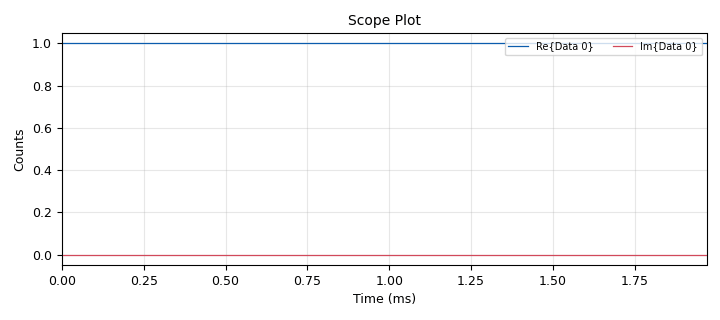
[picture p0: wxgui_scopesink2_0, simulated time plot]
<?xml version='1.0' encoding='utf-8'?>
<flow_graph>
<block>
<key>options</key>
<param><key>id</key><value>top_block</value></param>
<param><key>generate_options</key><value>wx_gui</value></param>
<param><key>category</key><value>Custom</value></param>
</block>
<block>
<key>variable</key>
<param><key>id</key><value>samp_rate</value></param>
<param><key>value</key><value>32000</value></param>
</block>
<block>
<key>analog_sig_source_x</key>
<param><key>id</key><value>analog_sig_source_x_0</value></param>
<param><key>type</key><value>complex</value></param>
<param><key>samp_rate</key><value>samp_rate</value></param>
<param><key>waveform</key><value>analog.GR_SIN_WAVE</value></param>
<param><key>freq</key><value>1000</value></param>
<param><key>amp</key><value>1</value></param>
<param><key>offset</key><value>0</value></param>
</block>
<block>
<key>analog_sig_source_x</key>
<param><key>id</key><value>analog_sig_source_x_0_0</value></param>
<param><key>type</key><value>complex</value></param>
<param><key>samp_rate</key><value>samp_rate</value></param>
<param><key>waveform</key><value>analog.GR_SIN_WAVE</value></param>
<param><key>freq</key><value>1000</value></param>
<param><key>amp</key><value>1</value></param>
<param><key>offset</key><value>0</value></param>
</block>
<block>
<key>juha_cspecsink</key>
<param><key>id</key><value>juha_cspecsink_0</value></param>
<param><key>fftlen</key><value>1024</value></param>
<param><key>n_avg</key><value>100</value></param>
</block>
<block>
<key>blocks_throttle</key>
<param><key>id</key><value>blocks_throttle_0_0</value></param>
<param><key>type</key><value>complex</value></param>
<param><key>samples_per_second</key><value>samp_rate</value></param>
</block>
<block>
<key>blocks_throttle</key>
<param><key>id</key><value>blocks_throttle_0</value></param>
<param><key>type</key><value>complex</value></param>
<param><key>samples_per_second</key><value>samp_rate</value></param>
</block>
<block>
<key>blocks_multiply_conjugate_cc</key>
<param><key>id</key><value>blocks_multiply_conjugate_cc_0</value></param>
</block>
<block>
<key>wxgui_scopesink2</key>
<param><key>id</key><value>wxgui_scopesink2_0</value></param>
<param><key>type</key><value>complex</value></param>
<param><key>title</key><value>Scope Plot</value></param>
<param><key>samp_rate</key><value>samp_rate</value></param>
<param><key>v_scale</key><value>0</value></param>
<param><key>v_offset</key><value>0</value></param>
<param><key>t_scale</key><value>0</value></param>
<param><key>ac_couple</key><value>False</value></param>
<param><key>xy_mode</key><value>False</value></param>
<param><key>num_inputs</key><value>1</value></param>
<param><key>trig_mode</key><value>wxgui.TRIG_MODE_AUTO</value></param>
<param><key>y_axis_label</key><value>Counts</value></param>
</block>
<connection><source_block_id>analog_sig_source_x_0</source_block_id><sink_block_id>blocks_throttle_0</sink_block_id><source_key>0</source_key><sink_key>0</sink_key></connection>
<connection><source_block_id>blocks_throttle_0</source_block_id><sink_block_id>juha_cspecsink_0</sink_block_id><source_key>0</source_key><sink_key>0</sink_key></connection>
<connection><source_block_id>analog_sig_source_x_0_0</source_block_id><sink_block_id>blocks_throttle_0_0</sink_block_id><source_key>0</source_key><sink_key>0</sink_key></connection>
<connection><source_block_id>blocks_throttle_0_0</source_block_id><sink_block_id>juha_cspecsink_0</sink_block_id><source_key>0</source_key><sink_key>1</sink_key></connection>
<connection><source_block_id>blocks_throttle_0_0</source_block_id><sink_block_id>blocks_multiply_conjugate_cc_0</sink_block_id><source_key>0</source_key><sink_key>1</sink_key></connection>
<connection><source_block_id>blocks_throttle_0</source_block_id><sink_block_id>blocks_multiply_conjugate_cc_0</sink_block_id><source_key>0</source_key><sink_key>0</sink_key></connection>
<connection><source_block_id>blocks_multiply_conjugate_cc_0</source_block_id><sink_block_id>wxgui_scopesink2_0</sink_block_id><source_key>0</source_key><sink_key>0</sink_key></connection>
</flow_graph>
